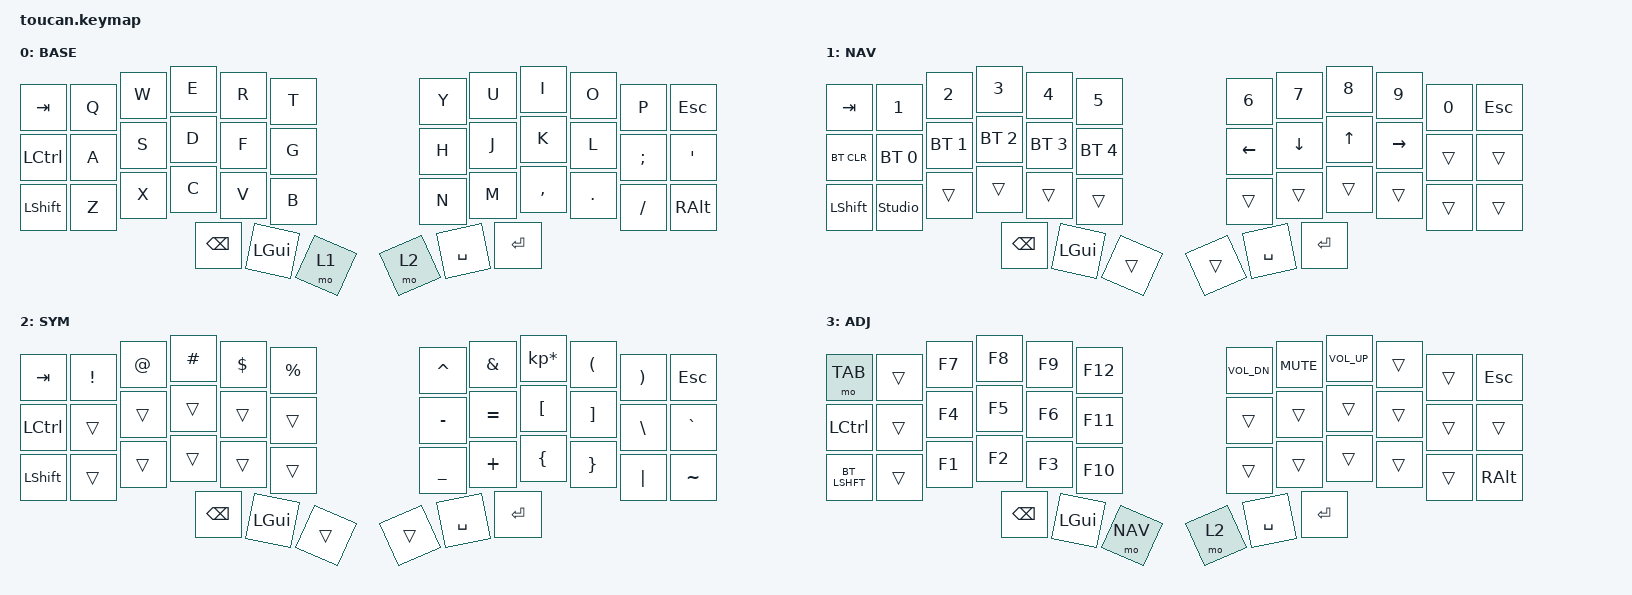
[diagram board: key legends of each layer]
#include <behaviors.dtsi>
#include <dt-bindings/zmk/keys.h>
#include <dt-bindings/zmk/bt.h>
#include <dt-bindings/zmk/outputs.h>

#define BASE 0
#define NAV  1
#define SYM  2
#define ADJ  3

/ {
    conditional_layers {
        compatible = "zmk,conditional-layers";
        tri_layer {
            if-layers = <1 2>;
            then-layer = <3>;
        };
    };

    keymap {
        compatible = "zmk,keymap";

        base {
            display-name = "BASE";
            bindings = <
                &kp TAB   &kp Q &kp W &kp E    &kp R    &kp T          &kp Y &kp U     &kp I     &kp O   &kp P    &kp ESC
                &kp LCTRL &kp A &kp S &kp D    &kp F    &kp G          &kp H &kp J     &kp K     &kp L   &kp SEMI &kp SQT
                &kp LSHFT &kp Z &kp X &kp C    &kp V    &kp B          &kp N &kp M     &kp COMMA &kp DOT &kp FSLH &kp RALT
                                      &kp BSPC &kp LGUI &mo 1          &mo 2 &kp SPACE &kp RET   
            >;
        };

        nav {
            display-name = "NAV";
            bindings = <
                &kp TAB     &kp N1          &kp N2       &kp N3       &kp N4       &kp N5         &kp N6   &kp N7   &kp N8 &kp N9    &kp N0 &kp ESC
                &bt BT_CLR  &bt BT_SEL 0    &bt BT_SEL 1 &bt BT_SEL 2 &bt BT_SEL 3 &bt BT_SEL 4   &kp LEFT &kp DOWN &kp UP &kp RIGHT &trans &trans
                &kp LSHFT   &studio_unlock  &trans       &trans       &trans       &trans         &trans   &trans   &trans &trans    &trans &trans
                                      &kp BSPC &kp LGUI &trans          &trans &kp SPACE &kp RET   
            >;
        };

        sym {
            display-name = "SYM";
            bindings = <
                &kp TAB   &kp EXCL &kp AT &kp HASH &kp DLLR &kp PRCNT   &kp CARET &kp AMPS  &kp KP_MULTIPLY &kp LPAR &kp RPAR &kp ESC
                &kp LCTRL &trans   &trans &trans   &trans   &trans      &kp MINUS &kp EQUAL &kp LBKT        &kp RBKT &kp BSLH &kp GRAVE
                &kp LSHFT &trans   &trans &trans   &trans   &trans      &kp UNDER &kp PLUS  &kp LBRC        &kp RBRC &kp PIPE &kp TILDE
                                      &kp BSPC &kp LGUI &trans          &trans &kp SPACE &kp RET   
            >;
        };

        adj {
            display-name = "ADJ";
            bindings = <
                &mo TAB   &trans &kp F7 &kp F8 &kp F9 &kp F12   &kp C_VOL_DN &kp C_MUTE  &kp C_VOL_UP &trans &trans &kp ESC
                &kp LCTRL &trans &kp F4 &kp F5 &kp F6 &kp F11   &trans       &trans      &trans       &trans &trans &trans
                &bt LSHFT &trans &kp F1 &kp F2 &kp F3 &kp F10   &trans       &trans      &trans       &trans &trans &kp RALT
                                    &kp BSPC &kp LGUI &mo NAV          &mo 2 &kp SPACE &kp RET   
            >;
        };
        extra_1 {
                status = "reserved";
        };

        extra_2 {
                status = "reserved";
        };

        extra_3 {
                status = "reserved";
        };
    };
};
